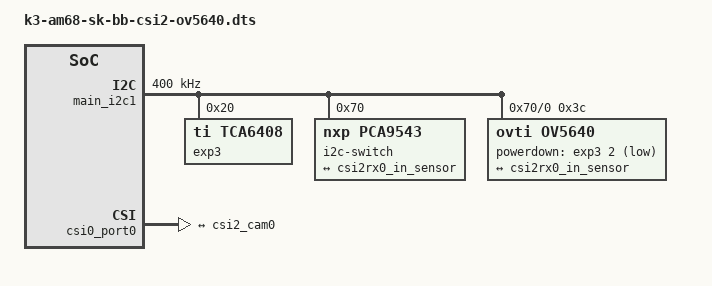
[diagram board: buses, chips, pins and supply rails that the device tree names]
// SPDX-License-Identifier: GPL-2.0
/**
 * LI OV5640 MIPI Camera module.
 *
 * Copyright (C) 2022 Texas Instruments Incorporated - https://www.ti.com/
 */

/dts-v1/;
/plugin/;

#include <dt-bindings/gpio/gpio.h>
#include <dt-bindings/interrupt-controller/irq.h>
#include <dt-bindings/pinctrl/k3.h>

&wkup_pmx0 {
	csi2_exp_refclk_pins_default: csi2-exp-refclk-pins-default {
		pinctrl-single,pins = <
			J721S2_IOPAD(0x0ec, PIN_OUTPUT, 6) /* (F25) WKUP_GPIO0_11.MCU_CLKOUT0 */
		>;
	};
};

&main_pmx0 {
	main_i2c1_pins_default: main-i2c1-pins-default {
		pinctrl-single,pins = <
			J721S2_IOPAD(0x0ac, PIN_INPUT, 13) /* (AC25) MCASP0_AXR15.I2C1_SCL */
			J721S2_IOPAD(0x0b0, PIN_INPUT, 13) /* (AD26) MCASP1_AXR3.I2C1_SDA */
		>;
	};
};

&k3_clks {
	/* Confiure AUDIO_EXT_REFCLK2 pin as output */
	pinctrl-names = "default";
	pinctrl-0 = <&csi2_exp_refclk_pins_default>;
};

&main_i2c1 {
	status = "okay";
	#address-cells = <1>;
	#size-cells = <0>;
	pinctrl-names = "default";
	pinctrl-0 = <&main_i2c1_pins_default>;
	clock-frequency = <400000>;

	exp3: gpio@20 {
		compatible = "ti,tca6408";
		reg = <0x20>;
		gpio-controller;
		#gpio-cells = <2>;
		gpio-line-names = "CSI_VIO_SEL", "CSI_SEL_FPC_EXPn",
				"IO_EXP_CSI2_EXP_RSTz","CSI0_B_GPIO1",
				"CSI1_B_GPIO1";
	};

	i2c-switch@70 {
		compatible = "nxp,pca9543";
		#address-cells = <1>;
		#size-cells = <0>;
		reg = <0x70>;

		/* CAM0 I2C */
		ti_cam0_i2c: i2c@0 {
			#address-cells = <1>;
			#size-cells = <0>;
			reg = <0>;

			ov5640: camera@3c {
				compatible = "ovti,ov5640";
				reg = <0x3c>;

				powerdown-gpios = <&exp3 2 GPIO_ACTIVE_LOW>;

				/* MCU_CLKOUT0 WKUP_GPIO0_11 (F25) */
				clocks = <&k3_clks 157 221>;
				clock-names = "xclk";

				/* HSDIV4_16FFT_MCU_2_HSDIVOUT0_CLK10 -> REFCLK2 */
				assigned-clocks = <&k3_clks 157 221>;
				assigned-clock-parents = <&k3_clks 157 223>;
				assigned-clock-rates = <25000000>;

				port {
					csi2_cam0: endpoint {
						remote-endpoint = <&csi2rx0_in_sensor>;
						clock-lanes = <0>;
						data-lanes = <1 2>;
					};
				};
			};
		};

	};
};

&csi0_port0 {
	status = "okay";

	csi2rx0_in_sensor: endpoint {
		remote-endpoint = <&csi2_cam0>;
		bus-type = <4>; /* CSI2 DPHY. */
		clock-lanes = <0>;
		data-lanes = <1 2>;
	};

};
